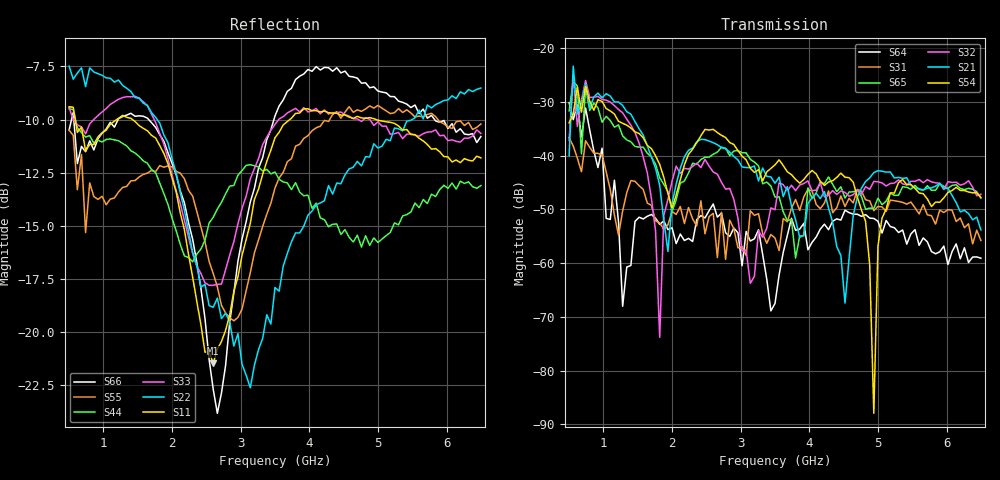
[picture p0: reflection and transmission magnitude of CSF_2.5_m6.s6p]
!Keysight Technologies,M9804A,MY58100912,A.14.10.03
!Date: Thursday, April 27, 2023 10:28:33
!Correction: S11(C  6-Port  )
!S12(C  6-Port  )
!S13(C  6-Port  )
!S14(C  6-Port  )
!S15(C  6-Port  )
!S16(C  6-Port  )
!S21(C  6-Port  )
!S22(C  6-Port  )
!S23(C  6-Port  )
!S24(C  6-Port  )
!S25(C  6-Port  )
!S26(C  6-Port  )
!S31(C  6-Port  )
!S32(C  6-Port  )
!S33(C  6-Port  )
!S34(C  6-Port  )
!S35(C  6-Port  )
!S36(C  6-Port  )
!S41(C  6-Port  )
!S42(C  6-Port  )
!S43(C  6-Port  )
!S44(C  6-Port  )
!S45(C  6-Port  )
!S46(C  6-Port  )
!S51(C  6-Port  )
!S52(C  6-Port  )
!S53(C  6-Port  )
!S54(C  6-Port  )
!S55(C  6-Port  )
!S56(C  6-Port  )
!S61(C  6-Port  )
!S62(C  6-Port  )
!S63(C  6-Port  )
!S64(C  6-Port  )
!S65(C  6-Port  )
!S66(C  6-Port  )
!S6P File: Measurement: :
# Hz S  RI  R 50
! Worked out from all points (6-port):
!   101 points, 500 MHz to 6.5 GHz, reference 50 ohm
!   strongest paths, dB at 500 MHz, 2 GHz, 3.5 GHz, 5 GHz, 6.5 GHz:
!     S54: -33.9, -49.7, -41.7, -56.8, -47.8
!     S21: -40.0, -48.9, -45.1, -42.8, -53.8
!     S32: -37.2, -44.8, -50.0, -44.9, -47.2
!     S65: -31.7, -50.4, -47.7, -47.9, -47.9
!     S31: -36.7, -50.4, -55.3, -49.4, -55.8
!     S64: -30.2, -53.4, -67.5, -52.2, -59.1
!   lowest |S11| = -21.5 dB at 2.6 GHz (marker M1), VSWR 1.18, Z = 42.5 + j2.19 ohm
!   |S11| at or under -10 dB: 589.3 MHz to 1.193 GHz (604.1 MHz wide, 67.8 % of centre); 1.425 GHz to 3.714 GHz (2.29 GHz wide, 89.1 % of centre); 4.974 GHz to end of sweep
